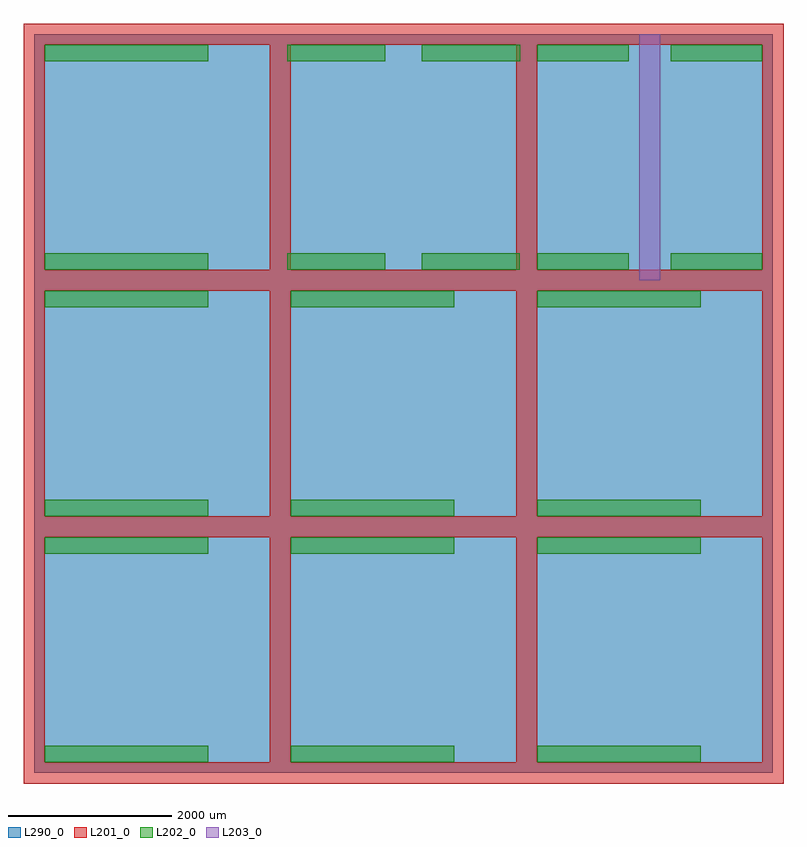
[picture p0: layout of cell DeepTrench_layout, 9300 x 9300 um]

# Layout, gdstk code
import gdstk
lib = gdstk.Library(unit=1e-6, precision=1e-09)
def R(c, l, rs):  # rectangles x0, y0, x1, y1
    for r in rs: c.add(gdstk.rectangle(r[:2], r[2:], *l))
def P(c, l, *ps):  # polygons
    for p in ps: c.add(gdstk.Polygon(p, *l))
L201_0 = (201, 0)
L202_0 = (202, 0)
L203_0 = (203, 0)
L290_0 = (290, 0)

sub_die_9 = lib.new_cell('Sub_Die_9')
R(sub_die_9, L202_0, [(-1376.656,-1376.666,623.344,-1176.666), (-1376.656,1176.666,623.344,1376.666)])
R(sub_die_9, L290_0, [(-1506.665,-1506.665,1506.665,1506.665)])

sub_die_8 = lib.new_cell('Sub_Die_8')
R(sub_die_8, L202_0, [(-1376.656,-1376.666,623.344,-1176.666), (-1376.656,1176.666,623.344,1376.666)])
R(sub_die_8, L290_0, [(-1506.665,-1506.665,1506.665,1506.665)])

sub_die_7 = lib.new_cell('Sub_Die_7')
R(sub_die_7, L202_0, [(-1376.656,-1376.666,623.344,-1176.666), (-1376.656,1176.666,623.344,1376.666)])
R(sub_die_7, L290_0, [(-1506.665,-1506.665,1506.665,1506.665)])

sub_die_6 = lib.new_cell('Sub_Die_6')
R(sub_die_6, L202_0, [(-1376.656,-1376.666,623.344,-1176.666), (-1376.656,1176.666,623.344,1376.666)])
R(sub_die_6, L290_0, [(-1506.665,-1506.665,1506.665,1506.665)])

sub_die_5 = lib.new_cell('Sub_Die_5')
R(sub_die_5, L202_0, [(-1376.656,-1376.666,623.344,-1176.666), (-1376.656,1176.666,623.344,1376.666)])
R(sub_die_5, L290_0, [(-1506.665,-1506.665,1506.665,1506.665)])

sub_die_4 = lib.new_cell('Sub_Die_4')
R(sub_die_4, L202_0, [(-1376.656,-1376.666,623.344,-1176.666), (-1376.656,1176.666,623.344,1376.666)])
R(sub_die_4, L290_0, [(-1506.665,-1506.665,1506.665,1506.665)])

sub_die_3 = lib.new_cell('Sub_Die_3')
R(sub_die_3, L202_0, [(-1376.656,-1376.666,-260,-1176.666), (260,-1376.666,1376.656,-1176.666), (-1376.656,1176.666,-260,1376.666), (260,1176.666,1376.656,1376.666)])
R(sub_die_3, L203_0, [(-130,-1506.665,130,1506.665)])
R(sub_die_3, L290_0, [(-1506.665,-1506.665,1506.665,1506.665)])

sub_die_2 = lib.new_cell('Sub_Die_2')
R(sub_die_2, L202_0, [(-1425.348,-1376.666,-225.348,-1176.666), (221.442,-1376.666,1421.442,-1176.666), (-1425.348,1176.666,-225.348,1376.666), (226.008,1176.666,1426.008,1376.666)])
R(sub_die_2, L290_0, [(-1506.665,-1506.665,1506.665,1506.665), (-130,-1506.665,130,1506.665)])

sub_die_1 = lib.new_cell('Sub_Die_1')
R(sub_die_1, L202_0, [(-1376.656,-1376.666,623.344,-1176.666), (-1376.656,1176.666,623.344,1376.666)])
R(sub_die_1, L290_0, [(-1506.665,-1506.665,1506.665,1506.665), (-1506.665,-130,1506.665,130), (-1506.665,906.666,1506.665,1166.666)])

deeptrench_layout = lib.new_cell('DeepTrench_layout')
R(deeptrench_layout, L201_0, [(-1636.67,-4500,-1376.67,4500), (1376.67,-4500,1636.67,4500), (-4500,-1636.66,4500,-1376.66), (-4500,1376.66,4500,1636.66)])
P(deeptrench_layout, L201_0, [(-4650,-4650),(-4650,4390.001),(-4390.001,4390.001),(-4390.001,-4390),(4390,-4390),(4390,4390.001),(-4650,4390.001),(-4650,4650),(4650,4650),(4650,-4650)])
deeptrench_layout.add(gdstk.Reference(sub_die_9, (3013.325,-3013.335)))
deeptrench_layout.add(gdstk.Reference(sub_die_8, (-0.005,-3013.335)))
deeptrench_layout.add(gdstk.Reference(sub_die_7, (-3013.335,-3013.335)))
deeptrench_layout.add(gdstk.Reference(sub_die_6, (3013.325,-0.005)))
deeptrench_layout.add(gdstk.Reference(sub_die_5, (-0.005,-0.005)))
deeptrench_layout.add(gdstk.Reference(sub_die_4, (-3013.335,-0.005)))
deeptrench_layout.add(gdstk.Reference(sub_die_3, (3013.325,3013.335)))
deeptrench_layout.add(gdstk.Reference(sub_die_2, (-0.005,3013.335)))
deeptrench_layout.add(gdstk.Reference(sub_die_1, (-3013.335,3013.335)))

lib.write_gds('DeepTrench_layout.gds')
